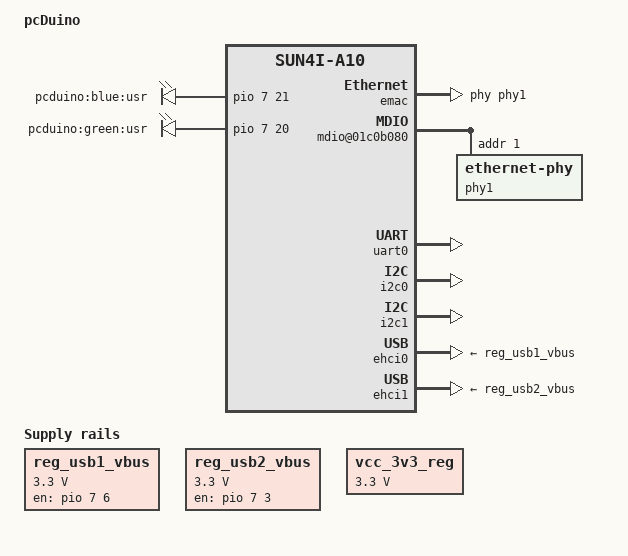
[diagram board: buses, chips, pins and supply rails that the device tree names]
/*
 * Copyright 2012 Stefan Roese
 * Stefan Roese <sr@denx.de>
 *
 * The code contained herein is licensed under the GNU General Public
 * License. You may obtain a copy of the GNU General Public License
 * Version 2 or later at the following locations:
 *
 * http://www.opensource.org/licenses/gpl-license.html
 * http://www.gnu.org/copyleft/gpl.html
 */

/dts-v1/;
/include/ "sun4i-a10.dtsi"

/ {
	model = "pcDuino";
	compatible = "pcduino,a10-pcduino", "allwinner,sun4i-a10";

	aliases {
		serial0 = &uart0;
		serial1 = &uart1;
	};

	chosen {
		bootargs = "earlyprintk console=ttyS0,115200";
	};

	soc@01c00000 {
		emac: ethernet@01c0b000 {
			pinctrl-names = "default";
			pinctrl-0 = <&emac_pins_a>;
			phy = <&phy1>;
			status = "okay";
		};

		mdio@01c0b080 {
			status = "okay";

			phy1: ethernet-phy@1 {
				reg = <1>;
			};
		};

		sdc0: sdc@01c0f000 {
                        pinctrl-names = "default";
                        pinctrl-0 = <&sdc0_pins_a>;
                        pinctrl-1 = <&mmc0_cd_pin_pcduino>;
                        cd-gpios = <&pio 7 1 0>; /* PH1 */
                        cd-mode = <1>;
                        status = "okay";
                };

		pinctrl@01c20800 {
			mmc0_cd_pin_pcduino: mmc0_cd_pin@0 {
				allwinner,pins = "PH1";
				allwinner,function = "gpio_in";
				allwinner,drive = <0>;
				allwinner,pull = <0>;
			};

			led_pins_pcduino: led_pins@0 {
				allwinner,pins = "PH20", "PH21";
				allwinner,function = "gpio_out";
				allwinner,drive = <1>;
				allwinner,pull = <0>;
			};

			usb1_vbus_pin: usb1_vbus_pin@0 {
					allwinner,pins = "PH6";
					allwinner,function = "gpio_out";
					allwinner,drive = <0>;
					allwinner,pull = <2>;
			};

			usb2_vbus_pin: usb2_vbus_pin@0 {
					allwinner,pins = "PH3";
					allwinner,function = "gpio_out";
					allwinner,drive = <0>;
					allwinner,pull = <2>;
			};
		};

		uart0: serial@01c28000 {
			pinctrl-names = "default";
			pinctrl-0 = <&uart0_pins_a>;
			status = "okay";
		};

		i2c0: i2c@01c2ac00 {
			pinctrl-names = "default";
			pinctrl-0 = <&i2c0_pins_a>;
			status = "okay";
		};

		i2c1: i2c@01c2b000 {
			pinctrl-names = "default";
			pinctrl-0 = <&i2c1_pins_a>;
			status = "okay";
		};

		ehci0: ehci0@0x01c14000 {
				vbus-supply = <&reg_usb1_vbus>;
				status = "okay";
		};

		ehci1: ehci1@0x01c1c000 {
				vbus-supply = <&reg_usb2_vbus>;
				status = "okay";
		};
	};

	leds {
		compatible = "gpio-leds";
		pinctrl-names = "default";
		pinctrl-0 = <&led_pins_pcduino>;

		blue {
			label = "pcduino:blue:usr";
			gpios = <&pio 7 21 0>; /* LED1 */
		};

		green {
			label = "pcduino:green:usr";
			gpios = <&pio 7 20 0>; /* LED2 */
			linux,default-trigger = "heartbeat";
		};
	};

	regulators {
		compatible = "simple-bus";

		reg_usb1_vbus: usb1-vbus {
			compatible = "regulator-fixed";
			pinctrl-names = "default";
			pinctrl-0 = <&usb1_vbus_pin>;
			regulator-name = "usb1-vbus";
			regulator-min-microvolt = <3300000>;
			regulator-max-microvolt = <3300000>;
			enable-active-high;
			gpio = <&pio 7 6 0>;
		};

		reg_usb2_vbus: usb2-vbus {
			compatible = "regulator-fixed";
			pinctrl-names = "default";
			pinctrl-0 = <&usb2_vbus_pin>;
			regulator-name = "usb2-vbus";
			regulator-min-microvolt = <3300000>;
			regulator-max-microvolt = <3300000>;
			enable-active-high;
			gpio = <&pio 7 3 0>;
		};
	};

	regulators {
		compatible = "simple-bus";
		pinctrl-names = "default";
		
		vcc_3v3_reg: regulator@0 {
			compatible = "regulator-fixed";
			regulator-name = "vcc_3v3";
			regulator-min-microvolt = <3300000>;
			regulator-max-microvolt = <3300000>;
			regulator-always-on;
		};
	};
};
